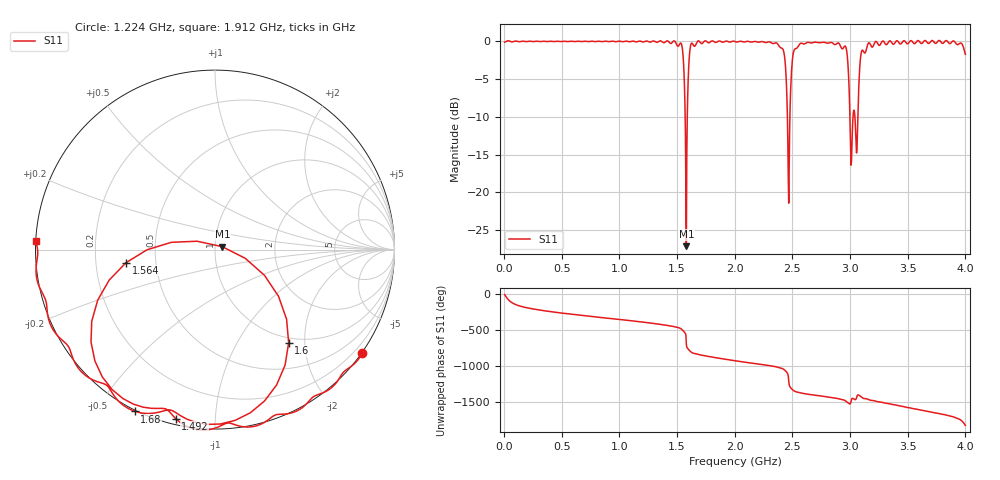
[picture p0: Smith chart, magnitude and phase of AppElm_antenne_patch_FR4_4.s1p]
! TOUCHSTONE file generated by CST MICROWAVE STUDIO
! Date and time: Tue Jun 14 14:10:47 2022
! Project name: AppElm_antenne_patch_FR4.cst
! Parameters = {L=45; W=58.5; e=0.035; h=1.6; lambda=0.190476; ls=120; w0=2.54; w1=0.847; ws=108; y0=18; y1=23.8}
! Header version: 2018
! Port assignment regex: !\s*Touchstone port\s*([0-9]+)\s*=\s*(CST MWS port|CST DS port)\s*([0-9]+|Zmin|Zmax)\s*\(\"(.*)\"\)(\s*mode\s*([0-9]+))?.*
! Touchstone port assignment:
! Touchstone port 1 = CST MWS port 1 ("")
# GHz S MA R 50
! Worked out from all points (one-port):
!   1000 points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, 4 MHz to 4 GHz, reference 50 ohm
!   lowest |S11| = -27.2 dB at 1.58 GHz (marker M1), VSWR 1.09, Z = 54.2 + j1.76 ohm
!   |S11| at or under -10 dB: 1.57 GHz to 1.588 GHz (18.55 MHz wide, 1.17 % of centre); 2.998 GHz to 3.026 GHz (27.4 MHz wide, 0.91 % of centre); 3.042 GHz to 3.067 GHz (25.61 MHz wide, 0.839 % of centre)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
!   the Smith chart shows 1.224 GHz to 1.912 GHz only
!   S11 on the Smith chart (normalised r, x): 1.224 GHz: -0.01, -3.17; 1.492 GHz: 0.03, -0.79; 1.564 GHz: 0.33, -0.07; 1.6 GHz: 0.91, -1.68; 1.68 GHz: -0.00, -0.62; 1.912 GHz: 0.00, +0.02
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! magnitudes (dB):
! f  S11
! 4 MHz  -0.1
! 504 MHz  0.0
! 1.004 GHz  0.0
! 1.224 GHz  0.0
! 1.492 GHz  -0.3
! 1.504 GHz  -0.6
! 1.544 GHz  -0.8
! 1.564 GHz  -6.0
! 1.58 GHz  -27.2
! 1.6 GHz  -3.6
! 1.62 GHz  -0.4
! 1.68 GHz  0.1
! 1.912 GHz  0.0
! 2.004 GHz  0.0
! 2.408 GHz  -0.9
! 2.432 GHz  -2.0
! 2.452 GHz  -7.4
! 2.468 GHz  -21.4
! 2.504 GHz  -1.9
! 2.576 GHz  -0.2
! 2.952 GHz  -0.6
! 2.976 GHz  -2.0
! 3.004 GHz  -14.0
! 3.056 GHz  -14.8
! 3.092 GHz  -2.0
! 3.112 GHz  -1.2
! 3.504 GHz  -0.3
! 4 GHz  -1.7
